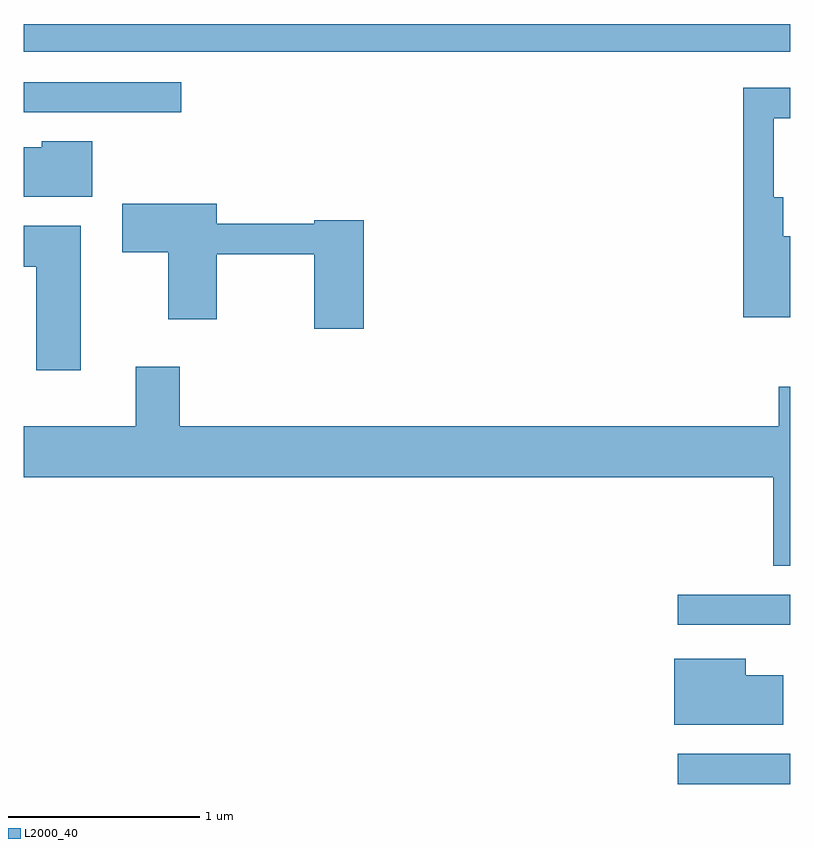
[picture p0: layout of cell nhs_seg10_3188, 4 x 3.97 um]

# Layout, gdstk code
import gdstk
lib = gdstk.Library(unit=1e-6, precision=1e-09)
def R(c, l, rs):  # rectangles x0, y0, x1, y1
    for r in rs: c.add(gdstk.rectangle(r[:2], r[2:], *l))
def P(c, l, *ps):  # polygons
    for p in ps: c.add(gdstk.Polygon(p, *l))
L2000_40 = (2000, 40)

nhs_seg10_3188 = lib.new_cell('nhs_seg10_3188')
R(nhs_seg10_3188, L2000_40, [(283.023,2094.556,283.611,2094.714), (283.023,2095.386,283.611,2095.544), (279.611,2098.061,280.433,2098.219), (279.611,2098.376,283.611,2098.522)])
P(nhs_seg10_3188, L2000_40, [(283.611,2097.414),(283.574,2097.414),(283.574,2097.619),(283.524,2097.619),(283.524,2098.031),(283.611,2098.031),(283.611,2098.189),(283.366,2098.189),(283.366,2096.991),(283.611,2096.991)],
  [(279.969,2097.909),(279.706,2097.909),(279.706,2097.879),(279.611,2097.879),(279.611,2097.621),(279.969,2097.621)],
  [(281.384,2097.499),(281.126,2097.499),(281.126,2097.479),(280.619,2097.479),(280.619,2097.584),(280.126,2097.584),(280.126,2097.331),(280.366,2097.331),(280.366,2096.981),(280.619,2096.981),(280.619,2097.321),(281.126,2097.321),(281.126,2096.931),(281.384,2096.931)],
  [(279.909,2097.469),(279.611,2097.469),(279.611,2097.256),(279.676,2097.256),(279.676,2096.716),(279.909,2096.716)],
  [(283.611,2096.629),(283.551,2096.629),(283.551,2096.424),(280.424,2096.424),(280.424,2096.734),(280.196,2096.734),(280.196,2096.424),(279.611,2096.424),(279.611,2096.156),(283.521,2096.156),(283.521,2095.696),(283.611,2095.696)],
  [(283.574,2095.124),(283.379,2095.124),(283.379,2095.209),(283.006,2095.209),(283.006,2094.866),(283.574,2094.866)])

lib.write_gds('nhs_seg10_3188.gds')
